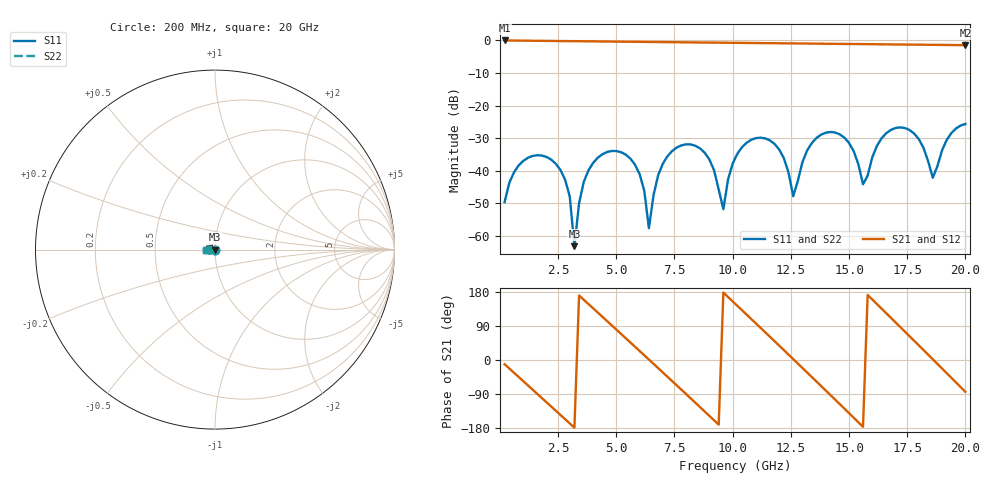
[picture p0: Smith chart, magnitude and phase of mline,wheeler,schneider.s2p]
# HZ S RI R 50
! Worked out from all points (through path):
!   100 points, 200 MHz to 20 GHz, reference 50 ohm
!   highest |S21| = -0.02 dB at 200 MHz (marker M1); lowest = -1.5 dB at 20 GHz (marker M2)
!   group delay of S21, straight-line fit = 162 ps
!   lowest |S11| = -63.1 dB at 3.2 GHz (marker M3), VSWR 1.00, Z = 49.9 + j0.0459 ohm
!   |S11| at or under -10 dB: start of sweep to end of sweep
!   |S22| runs from -63.1 to -25.7 dB; largest |S21 - S12| = 0
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2e8  -0.000673 -0.00323  0.9791 -0.1928  0.9791 -0.1928  -0.000673 -0.00323
1.2e9  -0.0146 -0.00614  0.3888 -0.9094  0.3888 -0.9094  -0.0146 -0.00614
2.2e9  -0.0126 0.00784  -0.5286 -0.826  -0.5286 -0.826  -0.0126 0.00784
3e9  -0.00133 0.00379  -0.9504 -0.2137  -0.9504 -0.2137  -0.00133 0.00379
3.2e9  -0.000523 0.00046  -0.9722 -0.0251  -0.9722 -0.0251  -0.000523 0.00046
3.6e9  -0.0029 -0.00605  -0.9053 0.3463  -0.9053 0.3463  -0.0029 -0.00605
5e9  -0.0198 0.00321  0.1599 0.9443  0.1599 0.9443  -0.0198 0.00321
6e9  -0.00452 0.00768  0.8686 0.3847  0.8686 0.3847  -0.00452 0.00768
6.4e9  -0.00124 0.000447  0.9466 0.0199  0.9466 0.0199  -0.00124 0.000447
6.8e9  -0.00429 -0.00746  0.8778 -0.3463  0.8778 -0.3463  -0.00429 -0.00746
8.2e9  -0.0249 0.00469  -0.1858 -0.9137  -0.1858 -0.9137  -0.0249 0.00469
9.6e9  -0.00237 -0.000995  -0.9213 0.0348  -0.9213 0.0348  -0.00237 -0.000995
1.02e10  -0.0125 -0.0132  -0.7328 0.5515  -0.7328 0.5515  -0.0125 -0.0132
1.16e10  -0.0264 0.0126  0.4347 0.7953  0.4347 0.7953  -0.0264 0.0126
1.26e10  -0.00383 0.00139  0.8984 0.0392  0.8984 0.0392  -0.00383 0.00139
1.34e10  -0.0208 -0.0166  0.6329 -0.6299  0.6329 -0.6299  -0.0208 -0.0166
1.44e10  -0.0377 0.00841  -0.2194 -0.8576  -0.2194 -0.8576  -0.0377 0.00841
1.54e10  -0.00815 0.00962  -0.8454 -0.2388  -0.8454 -0.2388  -0.00815 0.00962
1.56e10  -0.00572 0.00242  -0.8752 -0.0572  -0.8752 -0.0572  -0.00572 0.00242
1.68e10  -0.0403 -0.0132  -0.3153 0.8083  -0.3153 0.8083  -0.0403 -0.0132
1.84e10  -0.00996 0.00979  0.8312 0.2082  0.8312 0.2082  -0.00996 0.00979
2e10  -0.052 -0.00453  0.088 -0.84  0.088 -0.84  -0.052 -0.00453
